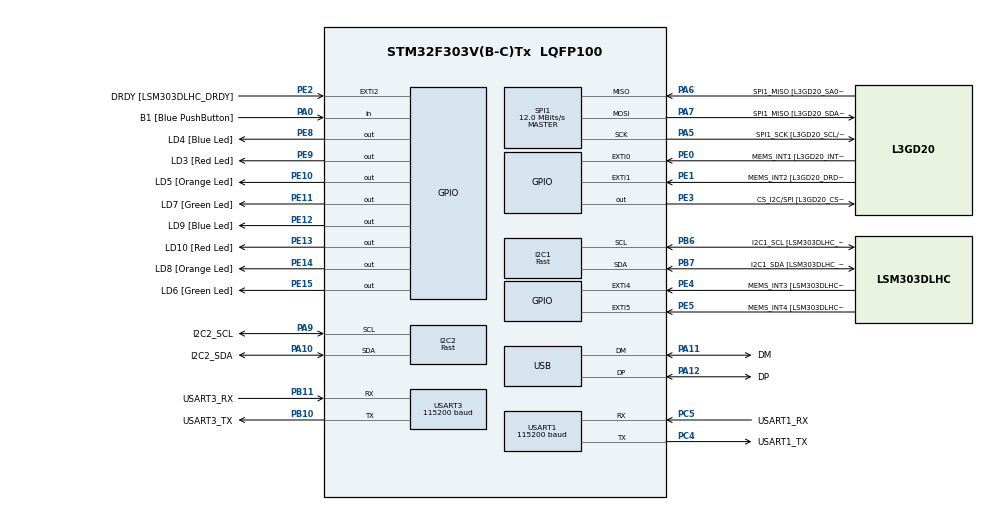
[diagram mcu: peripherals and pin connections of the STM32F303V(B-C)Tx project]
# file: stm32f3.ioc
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Dma.I2C1_RX.5.Direction=DMA_PERIPH_TO_MEMORY
Dma.I2C1_RX.5.Instance=DMA1_Channel7
Dma.I2C1_RX.5.MemDataAlignment=DMA_MDATAALIGN_BYTE
Dma.I2C1_RX.5.MemInc=DMA_MINC_ENABLE
Dma.I2C1_RX.5.Mode=DMA_NORMAL
Dma.I2C1_RX.5.PeriphDataAlignment=DMA_PDATAALIGN_BYTE
Dma.I2C1_RX.5.PeriphInc=DMA_PINC_DISABLE
Dma.I2C1_RX.5.Priority=DMA_PRIORITY_LOW
Dma.I2C1_TX.6.Direction=DMA_MEMORY_TO_PERIPH
Dma.I2C1_TX.6.Instance=DMA1_Channel6
Dma.I2C1_TX.6.MemDataAlignment=DMA_MDATAALIGN_BYTE
Dma.I2C1_TX.6.MemInc=DMA_MINC_ENABLE
Dma.I2C1_TX.6.Mode=DMA_NORMAL
Dma.I2C1_TX.6.PeriphDataAlignment=DMA_PDATAALIGN_BYTE
Dma.I2C1_TX.6.PeriphInc=DMA_PINC_DISABLE
Dma.I2C1_TX.6.Priority=DMA_PRIORITY_LOW
Dma.MEMTOMEM.0.Direction=DMA_MEMORY_TO_MEMORY
Dma.MEMTOMEM.0.Instance=DMA1_Channel1
Dma.MEMTOMEM.0.MemDataAlignment=DMA_MDATAALIGN_BYTE
Dma.MEMTOMEM.0.MemInc=DMA_MINC_ENABLE
Dma.MEMTOMEM.0.Mode=DMA_NORMAL
Dma.MEMTOMEM.0.PeriphDataAlignment=DMA_PDATAALIGN_BYTE
Dma.MEMTOMEM.0.PeriphInc=DMA_PINC_ENABLE
Dma.MEMTOMEM.0.Priority=DMA_PRIORITY_LOW
Dma.Request0=MEMTOMEM
Dma.Request1=USART1_RX
Dma.Request2=USART1_TX
Dma.Request3=USART3_RX
Dma.Request4=USART3_TX
Dma.Request5=I2C1_RX
Dma.Request6=I2C1_TX
Dma.USART1_RX.1.Direction=DMA_PERIPH_TO_MEMORY
Dma.USART1_RX.1.Instance=DMA1_Channel5
Dma.USART1_RX.1.MemDataAlignment=DMA_MDATAALIGN_BYTE
Dma.USART1_RX.1.MemInc=DMA_MINC_ENABLE
Dma.USART1_RX.1.Mode=DMA_CIRCULAR
Dma.USART1_RX.1.PeriphDataAlignment=DMA_PDATAALIGN_BYTE
Dma.USART1_RX.1.PeriphInc=DMA_PINC_DISABLE
Dma.USART1_RX.1.Priority=DMA_PRIORITY_LOW
Dma.USART1_TX.2.Direction=DMA_MEMORY_TO_PERIPH
Dma.USART1_TX.2.Instance=DMA1_Channel4
Dma.USART1_TX.2.MemDataAlignment=DMA_MDATAALIGN_BYTE
Dma.USART1_TX.2.MemInc=DMA_MINC_ENABLE
Dma.USART1_TX.2.Mode=DMA_NORMAL
Dma.USART1_TX.2.PeriphDataAlignment=DMA_PDATAALIGN_BYTE
Dma.USART1_TX.2.PeriphInc=DMA_PINC_DISABLE
Dma.USART1_TX.2.Priority=DMA_PRIORITY_LOW
Dma.USART3_RX.3.Direction=DMA_PERIPH_TO_MEMORY
Dma.USART3_RX.3.Instance=DMA1_Channel3
Dma.USART3_RX.3.MemDataAlignment=DMA_MDATAALIGN_BYTE
Dma.USART3_RX.3.MemInc=DMA_MINC_ENABLE
Dma.USART3_RX.3.Mode=DMA_CIRCULAR
Dma.USART3_RX.3.PeriphDataAlignment=DMA_PDATAALIGN_BYTE
Dma.USART3_RX.3.PeriphInc=DMA_PINC_DISABLE
Dma.USART3_RX.3.Priority=DMA_PRIORITY_LOW
Dma.USART3_TX.4.Direction=DMA_MEMORY_TO_PERIPH
Dma.USART3_TX.4.Instance=DMA1_Channel2
Dma.USART3_TX.4.MemDataAlignment=DMA_MDATAALIGN_BYTE
Dma.USART3_TX.4.MemInc=DMA_MINC_ENABLE
Dma.USART3_TX.4.Mode=DMA_NORMAL
Dma.USART3_TX.4.PeriphDataAlignment=DMA_PDATAALIGN_BYTE
Dma.USART3_TX.4.PeriphInc=DMA_PINC_DISABLE
Dma.USART3_TX.4.Priority=DMA_PRIORITY_LOW
I2C1.I2C_Speed_Mode=I2C_Fast
I2C1.OwnAddress=0
I2C1.Timing=0x2010091A
I2C1.Timing-I2C=0x2000090E
I2C2.I2C_Speed_Mode=I2C_Fast
I2C2.Timing=0x2010091A
IWDG.Prescaler=IWDG_PRESCALER_64
IWDG.Reload=3125
IWDG.Window=3125
Mcu.Family=STM32F3
Mcu.Name=STM32F303V(B-C)Tx
Mcu.Package=LQFP100
NVIC.DMA1_Channel2_IRQn=true\:1\:2\:true\:false\:true\:false\:true\:true
NVIC.DMA1_Channel3_IRQn=true\:1\:1\:true\:false\:true\:false\:true\:true
NVIC.DMA1_Channel4_IRQn=true\:1\:2\:true\:false\:true\:false\:true\:true
NVIC.DMA1_Channel5_IRQn=true\:1\:1\:true\:false\:true\:false\:true\:true
NVIC.DMA1_Channel6_IRQn=true\:2\:1\:true\:false\:true\:false\:true\:true
NVIC.DMA1_Channel7_IRQn=true\:2\:2\:true\:false\:true\:false\:true\:true
NVIC.I2C1_ER_IRQn=true\:0\:0\:false\:false\:true\:true\:true\:true
NVIC.I2C1_EV_IRQn=true\:2\:0\:true\:false\:true\:true\:true\:true
NVIC.I2C2_ER_IRQn=true\:0\:0\:false\:false\:true\:true\:true\:true
NVIC.I2C2_EV_IRQn=true\:0\:0\:true\:false\:true\:true\:true\:true
NVIC.PriorityGroup=NVIC_PRIORITYGROUP_2
NVIC.USART1_IRQn=true\:1\:0\:true\:false\:true\:true\:true\:true
NVIC.USART3_IRQn=true\:1\:0\:true\:false\:true\:true\:true\:true
NVIC.USB_HP_IRQn=true\:3\:3\:true\:false\:true\:true\:true\:true
NVIC.USB_LP_IRQn=true\:3\:3\:true\:false\:true\:false\:true\:true
PA0.GPIO_Label=B1 [Blue PushButton]
PA0.Signal=GPIO_Input
PA10.GPIO_Label=I2C2_SDA
PA10.GPIO_Pu=GPIO_PULLUP
PA10.Mode=I2C
PA10.Signal=I2C2_SDA
PA11.GPIO_Label=DM
PA11.Mode=Device
PA11.Signal=USB_DM
PA12.GPIO_Label=DP
PA12.Mode=Device
PA12.Signal=USB_DP
PA13.GPIO_Label=SWDIO
PA13.Mode=Serial_Wire
PA13.Signal=SYS_JTMS-SWDIO
PA14.GPIO_Label=SWCLK
PA14.Mode=Serial_Wire
PA14.Signal=SYS_JTCK-SWCLK
PA5.GPIO_Label=SPI1_SCK [L3GD20_SCL/SPC]
PA5.Mode=Full_Duplex_Master
PA5.Signal=SPI1_SCK
PA6.GPIO_Label=SPI1_MISO [L3GD20_SA0/SDO]
PA6.Mode=Full_Duplex_Master
PA6.Signal=SPI1_MISO
PA7.GPIO_Label=SPI1_MISO [L3GD20_SDA/SDI/SDO]
PA7.Mode=Full_Duplex_Master
PA7.Signal=SPI1_MOSI
PA9.GPIO_Label=I2C2_SCL
PA9.GPIO_Pu=GPIO_PULLUP
PA9.Mode=I2C
PA9.Signal=I2C2_SCL
PB10.GPIO_Label=USART3_TX
PB10.Mode=Asynchronous
PB10.Signal=USART3_TX
PB11.GPIO_Label=USART3_RX
PB11.Mode=Asynchronous
PB11.Signal=USART3_RX
PB13.GPIO_Label=SPI2_SCK
PB13.Signal=SPI2_SCK
PB14.GPIO_Label=SP2_MISO
PB14.Signal=SPI2_MISO
PB15.GPIO_Label=SPI2_MOSI
PB15.Signal=SPI2_MOSI
PB3.GPIO_Label=SWO
PB3.Signal=SYS_JTDO-TRACESWO
PB6.GPIO_FM6=SYSCFG_CFGR1_I2C_PB6_FMP
PB6.GPIO_Label=I2C1_SCL [LSM303DLHC_SCL]
PB6.GPIO_Pu=GPIO_PULLUP
PB6.Mode=I2C
PB6.Signal=I2C1_SCL
PB7.GPIO_FM7=SYSCFG_CFGR1_I2C_PB7_FMP
PB7.GPIO_Label=I2C1_SDA [LSM303DLHC_SDA]
PB7.GPIO_Pu=GPIO_PULLUP
PB7.Mode=I2C
PB7.Signal=I2C1_SDA
PC10.GPIO_Label=SPI3_SCK
PC10.Signal=SPI3_SCK
PC11.GPIO_Label=SPI3_MISO
PC11.Signal=SPI3_MISO
PC12.GPIO_Label=SPI3_MOSI
PC12.Signal=SPI3_MOSI
PC14-OSC32_IN.GPIO_Label=OSC32_IN
PC14-OSC32_IN.Signal=RCC_OSC32_IN
PC15-OSC32_OUT.GPIO_Label=OSC32_OUT
PC15-OSC32_OUT.Signal=RCC_OSC32_OUT
PC4.GPIO_Label=USART1_TX
PC4.Mode=Asynchronous
PC4.Signal=USART1_TX
PC5.GPIO_Label=USART1_RX
PC5.Mode=Asynchronous
PC5.Signal=USART1_RX
PD5.GPIO_Label=USART2_TX
PD5.Signal=USART2_TX
PD6.GPIO_Label=USART2_RX
PD6.Signal=USART2_RX
PE0.GPIO_Label=MEMS_INT1 [L3GD20_INT1]
PE0.GPIO_ModeDefaultEXTI=GPIO_MODE_EVT_RISING
PE0.Signal=GPXTI0
PE1.GPIO_Label=MEMS_INT2 [L3GD20_DRDY/INT2]
PE1.GPIO_ModeDefaultEXTI=GPIO_MODE_EVT_RISING
PE1.Signal=GPXTI1
PE10.GPIO_Label=LD5 [Orange Led]
PE10.GPIO_PuPd=GPIO_PULLUP
PE10.Signal=GPIO_Output
PE11.GPIO_Label=LD7 [Green Led]
PE11.GPIO_PuPd=GPIO_PULLUP
PE11.Signal=GPIO_Output
PE12.GPIO_Label=LD9 [Blue Led]
PE12.GPIO_PuPd=GPIO_PULLUP
PE12.Signal=GPIO_Output
PE13.GPIO_Label=LD10 [Red Led]
PE13.GPIO_PuPd=GPIO_PULLUP
PE13.Signal=GPIO_Output
PE14.GPIO_Label=LD8 [Orange Led]
PE14.GPIO_PuPd=GPIO_PULLUP
PE14.Signal=GPIO_Output
PE15.GPIO_Label=LD6 [Green Led]
PE15.GPIO_PuPd=GPIO_PULLUP
PE15.Signal=GPIO_Output
PE2.GPIO_Label=DRDY [LSM303DLHC_DRDY]
PE2.GPIO_ModeDefaultEXTI=GPIO_MODE_EVT_RISING
PE2.Signal=GPXTI2
PE3.GPIO_Label=CS_I2C/SPI [L3GD20_CS_I2C/SPI]
PE3.Signal=GPIO_Output
PE4.GPIO_Label=MEMS_INT3 [LSM303DLHC_INT1]
PE4.GPIO_ModeDefaultEXTI=GPIO_MODE_EVT_RISING
PE4.Signal=GPXTI4
PE5.GPIO_Label=MEMS_INT4 [LSM303DLHC_INT2]
PE5.GPIO_ModeDefaultEXTI=GPIO_MODE_EVT_RISING
PE5.Signal=GPXTI5
PE8.GPIO_Label=LD4 [Blue Led]
PE8.GPIO_PuPd=GPIO_PULLUP
PE8.Signal=GPIO_Output
PE9.GPIO_Label=LD3 [Red Led]
PE9.GPIO_PuPd=GPIO_PULLUP
PE9.Signal=GPIO_Output
PF0-OSC_IN.GPIO_Label=OSC_IN
PF0-OSC_IN.Mode=HSE-External-Clock-Source
PF0-OSC_IN.Signal=RCC_OSC_IN
PF1-OSC_OUT.GPIO_Label=OSC_OUT
PF1-OSC_OUT.Signal=RCC_OSC_OUT
ProjectManager.HeapSize=0x400
ProjectManager.StackSize=0x800
ProjectManager.TargetToolchain=Makefile
RCC.AHBFreq_Value=48000000
RCC.APB1CLKDivider=RCC_HCLK_DIV2
RCC.APB1Freq_Value=24000000
RCC.APB1TimFreq_Value=48000000
RCC.APB2Freq_Value=48000000
RCC.APB2TimFreq_Value=48000000
RCC.CortexFreq_Value=48000000
RCC.HCLKFreq_Value=48000000
RCC.HSE_VALUE=8000000
RCC.HSI_VALUE=8000000
RCC.I2c1ClockSelection=RCC_I2C1CLKSOURCE_SYSCLK
RCC.I2c2ClockSelection=RCC_I2C2CLKSOURCE_SYSCLK
RCC.LSE_VALUE=32768
RCC.PLLMUL=RCC_PLL_MUL6
RCC.SYSCLKFreq_VALUE=48000000
RCC.SYSCLKSourceVirtual=RCC_SYSCLKSOURCE_PLLCLK
RCC.USBFreq_Value=48000000
RCC.Usart1ClockSelection=RCC_USART1CLKSOURCE_SYSCLK
RCC.Usart3ClockSelection=RCC_USART3CLKSOURCE_SYSCLK
SPI1.BaudRatePrescaler=SPI_BAUDRATEPRESCALER_4
SPI1.BaudRatePrescaler-Full_Duplex_Master=SPI_BAUDRATEPRESCALER_2
SPI1.CalculateBaudRate=12.0 MBits/s
SPI1.CalculateBaudRate-Full_Duplex_Master=24.0 MBits/s
SPI1.Direction=SPI_DIRECTION_2LINES
SPI1.Mode=SPI_MODE_MASTER
SPI1.Mode-Full_Duplex_Master=SPI_MODE_MASTER
SPI1.VirtualType=VM_MASTER
USART1.BaudRate=115200
USART1.VirtualMode-Asynchronous=VM_ASYNC
USART3.BaudRate=115200
USART3.VirtualMode-Asynchronous=VM_ASYNC
USB_DEVICE.CLASS_NAME_FS=CDC
USB_DEVICE.VirtualMode=Cdc
USB_DEVICE.VirtualModeFS=Cdc_FS
VP_CRC_VS_CRC.Mode=CRC_Activate
VP_IWDG_VS_IWDG.Mode=IWDG_Activate
VP_USB_DEVICE_VS_USB_DEVICE_CDC_FS.Mode=CDC_FS
board=STM32F3DISCOVERY

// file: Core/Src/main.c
/* USER CODE BEGIN Header */
/**
  ******************************************************************************
  * @file           : main.c
  * @brief          : Main program body
  ******************************************************************************
  * @attention
  *
  * Copyright (c) 2023 STMicroelectronics.
  * All rights reserved.
  *
  * This software is licensed under terms that can be found in the LICENSE file
  * in the root directory of this software component.
  * If no LICENSE file comes with this software, it is provided AS-IS.
  *
  ******************************************************************************
  */
/* USER CODE END Header */
#include "main.h"
#include "crc.h"
#include "dma.h"
#include "i2c.h"
#include "iwdg.h"
#include "spi.h"
#include "usart.h"
#include "usb_device.h"
#include "gpio.h"

/* USER CODE BEGIN Includes */
#include "task.h"
#include "device.h"
#include "param.h"
#include "i2c_slave.h"
/* USER CODE END Includes */

void SystemClock_Config(void);

/* USER CODE BEGIN 0 */
/* USB 重新枚举函数 */
void USB_Reset(void)
{
  LL_GPIO_InitTypeDef GPIO_InitStruct = {0};

  LL_AHB1_GRP1_EnableClock(LL_AHB1_GRP1_PERIPH_GPIOA);

  GPIO_InitStruct.Pin = DP_Pin;
  GPIO_InitStruct.Mode = LL_GPIO_MODE_OUTPUT;
  GPIO_InitStruct.Speed = LL_GPIO_SPEED_FREQ_LOW;
  GPIO_InitStruct.OutputType = LL_GPIO_OUTPUT_PUSHPULL;
  GPIO_InitStruct.Pull = LL_GPIO_PULL_NO;
  LL_GPIO_Init(DP_GPIO_Port, &GPIO_InitStruct);

  LL_GPIO_ResetOutputPin(DP_GPIO_Port, DP_Pin);
  LL_mDelay(10);
  LL_GPIO_SetOutputPin(DP_GPIO_Port, DP_Pin);
}
/* USER CODE END 0 */

int main(void)
{
  /* USER CODE BEGIN 1 */
  uint8_t ch;
  /* USER CODE END 1 */

  /* MCU Configuration--------------------------------------------------------*/

  /* Reset of all peripherals, Initializes the Flash interface and the Systick. */
  HAL_Init();

  /* Configure the system clock */
  SystemClock_Config();

  /* USER CODE BEGIN SysInit */
  USB_Reset();
  /* USER CODE END SysInit */

  /* Initialize all configured peripherals */
  MX_GPIO_Init();
  MX_DMA_Init();
  MX_I2C1_Init();
  MX_SPI1_Init();
  MX_USB_DEVICE_Init();
  MX_I2C2_Init();
  MX_USART1_UART_Init();
  MX_USART3_UART_Init();
  MX_CRC_Init();
  MX_IWDG_Init();
  /* USER CODE BEGIN 2 */
  uart_config(DEV_USART1);
  uart_config(DEV_USART3);
  LL_mDelay(800);
  sys_param_init();
  task_init();
  i2c_slave_config();
  /* USER CODE END 2 */

  /* Infinite loop */
  /* USER CODE BEGIN WHILE */
  while (1)
  {
    // 任务事件循环
    task_loop();
    /* USER CODE END WHILE */

    /* USER CODE BEGIN 3 */
    LL_IWDG_ReloadCounter(IWDG);
  }
  /* USER CODE END 3 */
}

void SystemClock_Config(void)
{
  LL_FLASH_SetLatency(LL_FLASH_LATENCY_1);
  while(LL_FLASH_GetLatency()!= LL_FLASH_LATENCY_1)
  {
  }
  LL_RCC_HSE_EnableBypass();
  LL_RCC_HSE_Enable();

   /* Wait till HSE is ready */
  while(LL_RCC_HSE_IsReady() != 1)
  {

  }
  LL_RCC_LSI_Enable();

   /* Wait till LSI is ready */
  while(LL_RCC_LSI_IsReady() != 1)
  {

  }
  LL_RCC_PLL_ConfigDomain_SYS(LL_RCC_PLLSOURCE_HSE_DIV_1, LL_RCC_PLL_MUL_6);
  LL_RCC_PLL_Enable();

   /* Wait till PLL is ready */
  while(LL_RCC_PLL_IsReady() != 1)
  {

  }
  LL_RCC_SetAHBPrescaler(LL_RCC_SYSCLK_DIV_1);
  LL_RCC_SetAPB1Prescaler(LL_RCC_APB1_DIV_2);
  LL_RCC_SetAPB2Prescaler(LL_RCC_APB2_DIV_1);
  LL_RCC_SetSysClkSource(LL_RCC_SYS_CLKSOURCE_PLL);

   /* Wait till System clock is ready */
  while(LL_RCC_GetSysClkSource() != LL_RCC_SYS_CLKSOURCE_STATUS_PLL)
  {

  }
  LL_SetSystemCoreClock(48000000);

   /* Update the time base */
  if (HAL_InitTick (TICK_INT_PRIORITY) != HAL_OK)
  {
    Error_Handler();
  }
  LL_RCC_SetUSARTClockSource(LL_RCC_USART1_CLKSOURCE_SYSCLK);
  LL_RCC_SetUSARTClockSource(LL_RCC_USART3_CLKSOURCE_SYSCLK);
  LL_RCC_SetI2CClockSource(LL_RCC_I2C1_CLKSOURCE_SYSCLK);
  LL_RCC_SetI2CClockSource(LL_RCC_I2C2_CLKSOURCE_SYSCLK);
  LL_RCC_SetUSBClockSource(LL_RCC_USB_CLKSOURCE_PLL);
}

void Error_Handler(void)
{
  __disable_irq();
  while (1)
  {
  }
}
